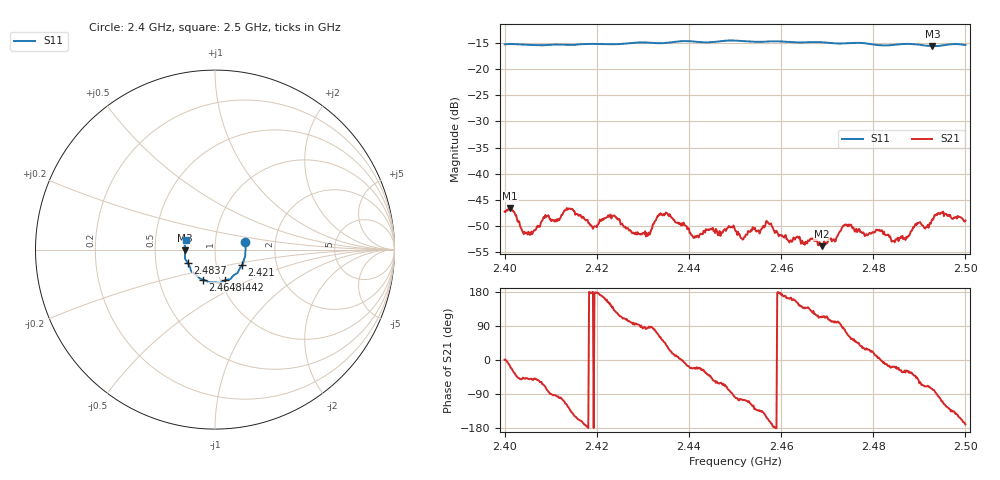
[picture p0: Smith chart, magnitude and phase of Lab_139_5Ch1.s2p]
# Hz S RI R 50
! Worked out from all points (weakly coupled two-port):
!   601 points, 2.4 GHz to 2.5 GHz, reference 50 ohm
!   highest |S21| = -46.55 dB at 2.4012 GHz (marker M1); lowest = -53.8 dB at 2.4688 GHz (marker M2)
!   lowest |S11| = -15.6 dB at 2.4928 GHz (marker M3), VSWR 1.40, Z = 35.8 - j0.338 ohm
!   |S11| at or under -10 dB: start of sweep to end of sweep
!   S12 and S22 are empty: the file has one direction only
!   S11 on the Smith chart (normalised r, x): 2.4 GHz: 1.40, +0.12; 2.421 GHz: 1.33, -0.24; 2.4442 GHz: 1.05, -0.37; 2.4648 GHz: 0.83, -0.29; 2.4837 GHz: 0.73, -0.11; 2.5 GHz: 0.72, +0.08
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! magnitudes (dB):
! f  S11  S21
! 2.4 GHz  -15.3  -47.2
! 2.4012 GHz  -15.2  -46.5
! 2.4045 GHz  -15.3  -51.4
! 2.4137 GHz  -15.3  -46.9
! 2.4167 GHz  -15.2  -48.3
! 2.4195 GHz  -15.2  -50.0
! 2.421 GHz  -15.2  -49.0
! 2.4312 GHz  -14.9  -51.7
! 2.4333 GHz  -15.0  -48.1
! 2.441 GHz  -14.7  -52.3
! 2.4442 GHz  -14.9  -50.6
! 2.45 GHz  -14.5  -50.7
! 2.4517 GHz  -14.6  -52.6
! 2.4573 GHz  -14.7  -49.5
! 2.4648 GHz  -14.9  -53.4
! 2.4667 GHz  -14.8  -52.5
! 2.4688 GHz  -14.9  -53.8
! 2.4742 GHz  -15.1  -49.7
! 2.4833 GHz  -15.5  -51.7
! 2.4837 GHz  -15.4  -51.9
! 2.4928 GHz  -15.6  -48.7
! 2.5 GHz  -15.4  -48.9
